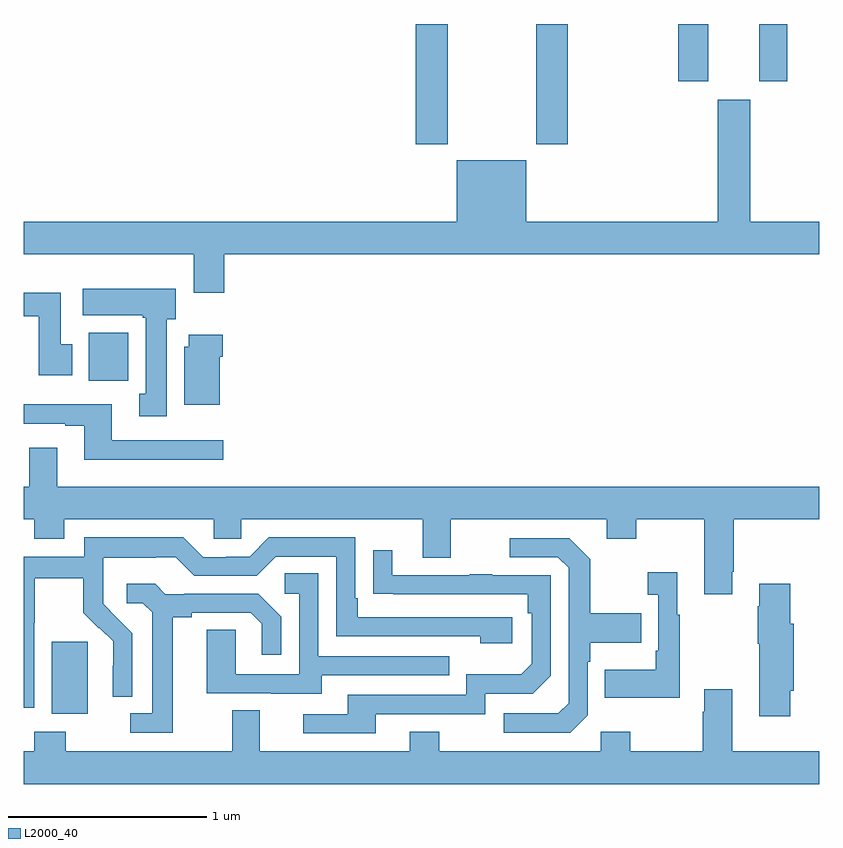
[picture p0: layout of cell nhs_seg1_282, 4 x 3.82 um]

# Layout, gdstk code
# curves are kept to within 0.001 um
import gdstk
lib = gdstk.Library(unit=1e-6, precision=1e-09)
def R(c, l, rs):  # rectangles x0, y0, x1, y1
    for r in rs: c.add(gdstk.rectangle(r[:2], r[2:], *l))
def P(c, l, *ps):  # polygons
    for p in ps: c.add(gdstk.Polygon(p, *l))
L2000_40 = (2000, 40)

nhs_seg1_282 = lib.new_cell('nhs_seg1_282')
R(nhs_seg1_282, L2000_40, [(125.141,574.73,125.32,575.091), (125.327,576.404,125.524,576.646), (126.971,577.593,127.131,578.199), (127.576,577.593,127.736,578.199), (128.291,577.911,128.443,578.199), (128.699,577.911,128.839,578.199)])
P(nhs_seg1_282, L2000_40, [(126.008,577.04),(129,577.04),(129,577.204),(128.653,577.204),(128.653,577.819),(128.489,577.819),(128.489,577.204),(127.528,577.204),(127.528,577.513),(127.178,577.513),(127.178,577.204),(125,577.204),(125,577.04),(125.855,577.04),(125.855,576.846),(126.008,576.846)],
  [(125.719,576.714),(125.764,576.714),(125.764,576.868),(125.295,576.868),(125.295,576.734),(125.599,576.734),(125.599,576.721),(125.612,576.721),(125.612,576.338),(125.579,576.338),(125.579,576.225),(125.719,576.225)],
  [(125.242,576.588),(125.185,576.588),(125.185,576.847),(125,576.847),(125,576.728),(125.075,576.728),(125.075,576.432),(125.242,576.432)],
  [(125.986,576.524),(125.999,576.524),(125.999,576.637),(125.828,576.637),(125.828,576.576),(125.807,576.576),(125.807,576.284),(125.986,576.284)],
  [(126.004,576.105),(125.443,576.105),(125.443,576.286),(125,576.286),(125,576.189),(125.207,576.189),(125.207,576.177),(125.303,576.177),(125.303,576.008),(126.004,576.008)],
  [(128.563,575.443),(128.571,575.443),(128.571,575.708),(129,575.708),(129,575.872),(125.167,575.872),(125.167,576.067),(125.027,576.067),(125.027,575.872),(125,575.872),(125,575.708),(125.051,575.708),(125.051,575.609),(125.203,575.609),(125.203,575.708),(125.955,575.708),(125.955,575.61),(126.093,575.61),(126.093,575.708),(127.007,575.708),(127.007,575.514),(127.147,575.514),(127.147,575.708),(127.931,575.708),(127.931,575.609),(128.079,575.609),(128.079,575.708),(128.423,575.708),(128.423,575.331),(128.563,575.331)],
  [(125.052,575.188),(125.055,575.188),(125.055,575.412),(125.299,575.412),(125.299,575.237),(125.376,575.16),(125.379,575.163),(125.45,575.093),(125.45,574.97),(125.448,574.97),(125.448,574.816),(125.544,574.816),(125.544,575.134),(125.398,575.282),(125.398,575.379),(125.4,575.379),(125.4,575.513),(125.663,575.513),(125.663,575.517),(125.763,575.517),(125.856,575.424),(126.171,575.424),(126.267,575.52),(126.57,575.52),(126.57,575.118),(127.295,575.118),(127.295,575.084),(127.456,575.084),(127.456,575.214),(126.679,575.214),(126.679,575.311),(126.666,575.311),(126.666,575.616),(126.231,575.616),(126.135,575.52),(126.017,575.52),(126.017,575.517),(125.901,575.517),(125.801,575.617),(125.304,575.617),(125.304,575.52),(125,575.52),(125,574.759),(125.052,574.759)],
  [(127.836,574.722),(127.836,574.991),(127.849,574.991),(127.849,575.087),(128.105,575.087),(128.105,575.235),(127.849,575.235),(127.849,575.507),(127.743,575.613),(127.443,575.613),(127.443,575.517),(127.686,575.517),(127.74,575.463),(127.74,574.782),(127.689,574.731),(127.413,574.731),(127.413,574.635),(127.749,574.635)],
  [(126.769,574.728),(127.32,574.728),(127.32,574.83),(127.56,574.83),(127.65,574.92),(127.65,575.427),(127.355,575.427),(127.355,575.432),(127.243,575.432),(127.243,575.427),(126.853,575.427),(126.853,575.551),(126.757,575.551),(126.757,575.332),(127.534,575.331),(127.534,575.234),(127.554,575.234),(127.554,574.98),(127.501,574.927),(127.224,574.927),(127.224,574.824),(126.629,574.824),(126.629,574.728),(126.405,574.728),(126.405,574.632),(126.769,574.632)],
  [(128.299,575.227),(128.287,575.227),(128.287,575.44),(128.139,575.44),(128.139,575.327),(128.19,575.327),(128.19,575.047),(128.178,575.047),(128.178,574.951),(127.921,574.951),(127.921,574.811),(128.299,574.811)],
  [(126.499,574.923),(127.139,574.923),(127.139,575.019),(126.48,575.019),(126.48,575.435),(126.312,575.435),(126.312,575.334),(126.384,575.334),(126.384,574.929),(126.066,574.929),(126.066,575.153),(125.921,575.153),(125.921,574.833),(126.245,574.833),(126.245,574.829),(126.499,574.829)],
  [(125.749,575.216),(125.845,575.216),(125.845,575.238),(126.14,575.238),(126.197,575.181),(126.197,575.025),(126.294,575.025),(126.294,575.218),(126.178,575.334),(125.806,575.334),(125.806,575.331),(125.712,575.331),(125.66,575.383),(125.517,575.383),(125.517,575.286),(125.598,575.286),(125.645,575.239),(125.645,574.731),(125.535,574.731),(125.535,574.635),(125.749,574.635)],
  [(128.854,574.845),(128.872,574.845),(128.872,575.181),(128.854,575.181),(128.854,575.383),(128.699,575.383),(128.699,575.27),(128.692,575.27),(128.692,575.081),(128.699,575.081),(128.699,574.716),(128.854,574.716)],
  [(129,574.54),(128.563,574.54),(128.563,574.852),(128.423,574.852),(128.423,574.739),(128.416,574.739),(128.416,574.54),(128.049,574.54),(128.049,574.639),(127.902,574.639),(127.902,574.54),(127.089,574.54),(127.089,574.639),(126.941,574.639),(126.941,574.54),(126.187,574.54),(126.187,574.748),(126.047,574.748),(126.047,574.54),(125.211,574.54),(125.211,574.639),(125.051,574.639),(125.051,574.54),(125,574.54),(125,574.376),(129,574.376)])

lib.write_gds('nhs_seg1_282.gds')
